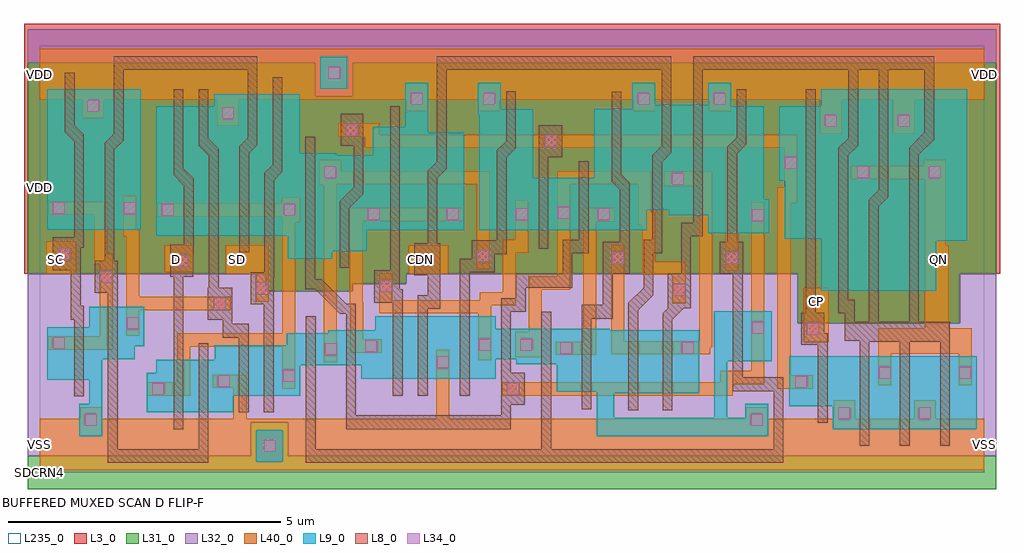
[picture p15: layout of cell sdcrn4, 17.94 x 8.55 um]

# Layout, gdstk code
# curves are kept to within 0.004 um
import gdstk
lib = gdstk.Library(unit=1e-6, precision=1e-09)
def R(c, l, rs):  # rectangles x0, y0, x1, y1
    for r in rs: c.add(gdstk.rectangle(r[:2], r[2:], *l))
def P(c, l, *ps):  # polygons
    for p in ps: c.add(gdstk.Polygon(p, *l))
L3_0 = (3, 0)
L8_0 = (8, 0)
L9_0 = (9, 0)
L31_0 = (31, 0)
L32_0 = (32, 0)
L34_0 = (34, 0)
L40_0 = (40, 0)
L235_0 = (235, 0)

sdcrn4 = lib.new_cell('sdcrn4')
P(sdcrn4, L3_0, [(17.65,8.245),(17.65,3.65),(16.91,3.65),(16.91,2.74),(13.93,2.74),(13.93,3.65),(6.74,3.65),(6.74,3.47),(5.75,3.47),(5.75,3.33),(4.15,3.33),(4.15,3.65),(-0.29,3.65),(-0.29,8.245)])
R(sdcrn4, L8_0, [(15.07,0.49,15.25,2.405), (15.81,0.49,15.99,2.405)])
P(sdcrn4, L8_0, [(3.1,2.38),(2.92,2.38),(2.92,0.43),(1.43,0.43),(1.43,3.89),(1.37,3.89),(1.37,5.93),(1.54,6.1),(1.54,7.405),(3.82,7.405),(3.82,6.15),(3.67,6),(3.67,4.045),(3.85,4.045),(3.85,5.865),(4,6.015),(4,7.655),(1.36,7.655),(1.36,6.23),(1.19,6.06),(1.19,3.89),(1.01,3.89),(1.01,3.3),(1.25,3.3),(1.25,0.18),(3.1,0.18)],
  [(11,2.98),(11.28,3.26),(11.28,4.03),(11.44,4.03),(11.44,5.705),(11.61,5.875),(11.61,7.655),(7.3,7.655),(7.3,5.715),(7.13,5.545),(7.13,4.21),(6.88,4.21),(6.88,3.625),(7.13,3.625),(7.13,3.26),(6.95,3.26),(6.95,1.41),(7.13,1.41),(7.13,3.01),(7.36,3.01),(7.36,4.21),(7.31,4.21),(7.31,5.41),(7.48,5.58),(7.48,7.405),(11.43,7.405),(11.43,6.005),(11.26,5.835),(11.26,4.28),(11.1,4.28),(11.1,3.4),(10.82,3.12),(10.82,1.145),(11,1.145)],
  [(0.81,3.065),(0.75,3.065),(0.75,4.13),(0.81,4.13),(0.81,6.215),(0.64,6.385),(0.64,7.35),(0.46,7.35),(0.46,6.25),(0.63,6.08),(0.63,4.325),(0.24,4.325),(0.24,3.72),(0.57,3.72),(0.57,2.81),(0.63,2.81),(0.63,1.4),(0.81,1.4)],
  [(4.3,3.58),(4.31,3.58),(4.31,5.375),(4.46,5.525),(4.46,7.265),(4.28,7.265),(4.28,5.66),(4.13,5.51),(4.13,3.68),(3.88,3.68),(3.88,3.09),(4.12,3.09),(4.12,1.105),(4.3,1.105)],
  [(2.64,3.595),(2.82,3.595),(2.82,4.015),(2.83,4.015),(2.83,5.405),(2.64,5.595),(2.64,7.04),(2.46,7.04),(2.46,5.465),(2.65,5.275),(2.65,4.185),(2.4,4.185),(2.4,3.595),(2.46,3.595),(2.46,0.795),(2.64,0.795)],
  [(3.84,2.73),(3.54,2.73),(3.54,3.4),(3.29,3.4),(3.29,5.95),(3.1,6.14),(3.1,7.04),(2.92,7.04),(2.92,6.01),(3.11,5.82),(3.11,3.4),(3.09,3.4),(3.09,2.81),(3.36,2.81),(3.36,2.475),(3.66,2.475),(3.66,1.105),(3.84,1.105)],
  [(13.67,1.75),(12.92,1.75),(12.92,3.65),(12.93,3.65),(12.93,4.24),(12.82,4.24),(12.82,5.86),(12.99,6.03),(12.99,7.04),(12.81,7.04),(12.81,6.16),(12.64,5.99),(12.64,4.24),(12.5,4.24),(12.5,3.65),(12.74,3.65),(12.74,1.495),(13.49,1.495),(13.49,0.43),(9.4,0.43),(9.4,2.95),(9.22,2.95),(9.22,0.43),(5.07,0.43),(5.07,2.87),(4.89,2.87),(4.89,0.18),(13.67,0.18)],
  [(14.48,2.56),(14.42,2.56),(14.42,2.94),(14.26,2.94),(14.26,7.04),(14.08,7.04),(14.08,2.94),(14,2.94),(14,2.35),(14.3,2.35),(14.3,0.91),(14.48,0.91)],
  [(7.9,3.68),(8.36,3.68),(8.36,4.015),(8.58,4.015),(8.58,5.79),(8.75,5.96),(8.75,7.01),(8.57,7.01),(8.57,6.09),(8.4,5.92),(8.4,4.27),(7.94,4.27),(7.94,3.93),(7.72,3.93),(7.72,1.41),(7.9,1.41)],
  [(10.14,2.825),(10.53,2.825),(10.53,3.65),(10.84,3.65),(10.84,5.33),(10.69,5.48),(10.69,7),(10.51,7),(10.51,5.345),(10.66,5.195),(10.66,4.24),(10.35,4.24),(10.35,3.08),(9.96,3.08),(9.96,1.16),(10.14,1.16)],
  [(6.67,3.37),(6.62,3.37),(6.62,6.73),(6.44,6.73),(6.44,3.72),(6.15,3.72),(6.15,3.12),(6.49,3.12),(6.49,1.41),(6.67,1.41)],
  [(5.69,4.855),(5.95,5.115),(5.95,6.59),(5.53,6.59),(5.53,6.005),(5.77,6.005),(5.77,5.245),(5.51,4.985),(5.51,3.765),(5.69,3.765)],
  [(9.35,5.795),(9.6,5.795),(9.6,6.38),(9.17,6.38),(9.17,4.115),(9.35,4.115)],
  [(8.66,1.245),(8.91,1.245),(8.91,1.83),(8.66,1.83),(8.66,2.95),(8.93,2.95),(8.93,3.4),(9.79,3.4),(9.79,4.03),(10.09,4.03),(10.09,5.725),(9.91,5.725),(9.91,4.28),(9.61,4.28),(9.61,3.65),(8.75,3.65),(8.75,3.205),(8.48,3.205),(8.48,1.05),(5.81,1.05),(5.81,3.105),(5.63,3.105),(5.18,3.555),(5.06,3.555),(5.06,6.17),(4.88,6.17),(4.88,3.37),(5.06,3.37),(5.51,2.92),(5.63,2.92),(5.63,0.795),(8.66,0.795)],
  [(15.07,2.405),(16.55,2.405),(16.55,0.49),(16.73,0.49),(16.73,2.77),(16.16,2.77),(16.16,5.84),(16.44,6.12),(16.44,7.655),(12.01,7.655),(12.01,4.59),(11.79,4.59),(11.79,3.65),(11.54,3.65),(11.54,3.02),(11.45,2.93),(11.45,1.145),(11.63,1.145),(11.63,2.805),(11.84,3.015),(11.97,3.015),(11.97,4.34),(12.19,4.34),(12.19,7.405),(14.86,7.405),(14.86,6.145),(14.68,5.965),(14.68,3.175),(14.86,3.175),(14.86,5.83),(15.04,6.01),(15.04,7.405),(15.42,7.405),(15.42,5.195),(15.24,5.015),(15.24,2.77),(15.42,2.77),(15.42,4.88),(15.6,5.06),(15.6,7.405),(16.26,7.405),(16.26,6.25),(15.98,5.97),(15.98,2.77),(14.98,2.77),(14.98,3.175),(14.68,3.175),(14.68,2.925),(14.8,2.925),(14.8,2.42),(15.07,2.42)])
R(sdcrn4, L9_0, [(3.98,0.195,4.47,0.78), (0.14,4.465,1.86,7.04), (5.16,7.055,5.65,7.64)])
P(sdcrn4, L9_0, [(17.22,2.14),(17.22,0.795),(14.58,0.795),(14.58,1.215),(13.78,1.215),(13.78,2.14)],
  [(13.45,2.965),(13.45,2.04),(12.64,2.04),(12.64,1.005),(12.97,1.005),(12.97,1.26),(13.39,1.26),(13.39,0.67),(10.24,0.67),(10.24,1.48),(9.5,1.48),(9.5,1.985),(8.76,1.985),(8.76,2.085),(8.38,2.085),(8.38,1.72),(5.91,1.72),(5.91,1.97),(4.79,1.97),(4.79,1.41),(3.56,1.41),(3.56,1.105),(1.97,1.105),(1.97,1.83),(2.14,1.83),(2.14,2.07),(3.22,2.07),(3.22,2.335),(4.54,2.335),(4.54,2.56),(5.3,2.56),(5.3,2.615),(6.17,2.615),(6.17,2.87),(8.38,2.87),(8.38,2.645),(10.48,2.645),(10.48,2.615),(12.12,2.615),(12.12,1.455),(10.56,1.455),(10.56,1.005),(12.4,1.005),(12.4,2.965)],
  [(1.92,3.05),(1.92,2.32),(1.75,2.32),(1.75,2.085),(1.15,2.085),(1.15,0.67),(0.73,0.67),(0.73,1.26),(0.91,1.26),(0.91,1.705),(0.14,1.705),(0.14,2.67),(0.91,2.67),(0.91,3.05)],
  [(17.05,7.04),(17.05,4.255),(16.48,4.255),(16.48,3.345),(14.36,3.345),(14.36,4.295),(13.69,4.295),(13.69,5.36),(13.59,5.36),(13.59,6.73),(14.36,6.73),(14.36,7.04)],
  [(12.71,7.165),(12.71,6.73),(13.31,6.73),(13.31,5.025),(13.41,5.025),(13.41,4.395),(12.29,4.395),(12.29,4.73),(11.56,4.73),(11.56,4.83),(11.16,4.83),(11.16,4.45),(8.08,4.45),(8.08,6.58),(8.05,6.58),(8.05,7.165),(8.47,7.165),(8.47,6.675),(9.07,6.675),(9.07,5.415),(10.19,5.415),(10.19,6.69),(10.89,6.69),(10.89,7.165),(11.31,7.165),(11.31,6.76),(12.29,6.76),(12.29,7.165)],
  [(7.14,7.165),(7.14,6.255),(7.8,6.255),(7.8,4.45),(6.01,4.45),(6.01,4.07),(5.38,4.07),(5.38,3.93),(4.56,3.93),(4.56,4.35),(2.14,4.35),(2.14,6.73),(3.21,6.73),(3.21,6.955),(4.78,6.955),(4.78,5.865),(5.46,5.865),(5.46,5.835),(6.12,5.835),(6.12,6.355),(6.72,6.355),(6.72,7.165)])
P(sdcrn4, L31_0, [(4.57,0.92),(4.57,0.305),(17.58,0.305),(17.58,-0.305),(-0.22,-0.305),(-0.22,0.305),(3.88,0.305),(3.88,0.92)],
  [(17.58,7.53),(17.58,3.65),(16.91,3.65),(16.91,2.74),(13.93,2.74),(13.93,3.65),(6.74,3.65),(6.74,3.47),(5.75,3.47),(5.75,3.33),(4.15,3.33),(4.15,3.65),(-0.22,3.65),(-0.22,7.53),(5.06,7.53),(5.06,6.915),(5.75,6.915),(5.75,7.53)])
P(sdcrn4, L32_0, [(17.58,3.65),(17.58,0.305),(4.57,0.305),(4.57,0.92),(3.88,0.92),(3.88,0.305),(-0.22,0.305),(-0.22,3.65),(4.15,3.65),(4.15,3.33),(5.75,3.33),(5.75,3.47),(6.74,3.47),(6.74,3.65),(13.93,3.65),(13.93,2.74),(16.91,2.74),(16.91,3.65)],
  [(17.58,8.145),(17.58,7.53),(5.75,7.53),(5.75,6.915),(5.06,6.915),(5.06,7.53),(-0.22,7.53),(-0.22,8.145)])
R(sdcrn4, L34_0, [(4.12,0.38,4.34,0.6), (0.83,0.855,1.05,1.075), (13.07,0.855,13.29,1.075), (14.68,0.98,14.9,1.2), (16.16,0.98,16.38,1.2), (2.07,1.43,2.29,1.65), (8.59,1.43,8.81,1.65), (13.89,1.555,14.11,1.775), (3.27,1.57,3.49,1.79), (4.47,1.665,4.69,1.885), (15.42,1.72,15.64,1.94), (16.9,1.72,17.12,1.94), (7.3,1.92,7.52,2.14), (5.24,2.155,5.46,2.375), (9.57,2.17,9.79,2.39), (11.8,2.185,12.02,2.405), (5.98,2.21,6.2,2.43), (8.07,2.24,8.29,2.46), (8.83,2.24,9.05,2.46), (0.24,2.27,0.46,2.49), (14.1,2.535,14.32,2.755), (13.09,2.55,13.31,2.77), (1.6,2.63,1.82,2.85), (3.2,2.995,3.42,3.215), (11.64,3.25,11.86,3.47), (3.98,3.275,4.2,3.495), (6.25,3.32,6.47,3.54), (1.11,3.485,1.33,3.705), (2.5,3.78,2.72,4), (6.98,3.81,7.2,4.03), (10.51,3.835,10.73,4.055), (12.61,3.835,12.83,4.055), (8.04,3.865,8.26,4.085), (0.34,3.905,0.56,4.125), (13.09,4.62,13.31,4.84), (6.03,4.635,6.25,4.855), (7.48,4.635,7.7,4.855), (8.75,4.635,8.97,4.855), (10.26,4.635,10.48,4.855), (9.52,4.66,9.74,4.88), (2.24,4.72,2.46,4.94), (4.48,4.72,4.7,4.94), (0.24,4.745,0.46,4.965), (1.54,4.745,1.76,4.965), (11.62,5.29,11.84,5.51), (5.23,5.405,5.45,5.625), (15.03,5.405,15.25,5.625), (16.34,5.405,16.56,5.625), (13.69,5.585,13.91,5.805), (9.28,5.98,9.5,6.2), (5.63,6.19,5.85,6.41), (14.43,6.355,14.65,6.575), (15.77,6.355,15.99,6.575), (3.35,6.495,3.57,6.715), (0.87,6.635,1.09,6.855), (6.82,6.76,7.04,6.98), (8.15,6.76,8.37,6.98), (10.99,6.76,11.21,6.98), (12.39,6.76,12.61,6.98), (5.3,7.24,5.52,7.46)])
R(sdcrn4, L40_0, [(14.04,2.395,14.5,3.395), (0.12,3.655,0.67,4.25), (6.78,3.655,7.51,4.18), (2.3,3.685,2.82,4.18)])
P(sdcrn4, L40_0, [(0,6.85),(0.78,6.85),(0.78,6.51),(1.18,6.51),(1.18,6.85),(3.26,6.85),(3.26,6.37),(3.66,6.37),(3.66,6.85),(6.74,6.85),(6.74,6.64),(7.13,6.64),(7.13,6.85),(8.06,6.85),(8.06,6.64),(8.46,6.64),(8.46,6.85),(10.9,6.85),(10.9,6.64),(11.3,6.64),(11.3,6.85),(12.3,6.85),(12.3,6.64),(12.7,6.64),(12.7,6.85),(14.34,6.85),(14.34,6.23),(14.74,6.23),(14.74,6.85),(15.68,6.85),(15.68,6.23),(16.08,6.23),(16.08,6.85),(17.36,6.85),(17.36,7.79),(0,7.79)],
  [(11.48,5.265),(12.12,5.265),(12.12,2.415),(10.74,2.415),(10.74,4.18),(10.5,4.18),(10.5,2.17),(12.32,2.17),(12.32,2.3),(12.36,2.3),(12.36,5.54),(11.48,5.54)],
  [(4.46,1.54),(4.7,1.54),(4.7,4.595),(4.79,4.595),(4.79,5.06),(4.45,5.06),(4.45,4.95),(2.15,4.95),(2.15,4.705),(4.46,4.705),(4.46,2.555),(2.53,2.555),(2.53,1.66),(1.98,1.66),(1.98,1.415),(2.77,1.415),(2.77,2.31),(4.46,2.31)],
  [(8.75,4.035),(8.98,4.035),(8.98,5.005),(8.74,5.005),(8.74,4.28),(8.51,4.28),(8.51,3.31),(8.09,3.31),(8.09,3.17),(6.48,3.17),(6.48,3.66),(6.24,3.66),(6.24,2.93),(8.06,2.93),(8.06,2.06),(8.3,2.06),(8.3,3.07),(8.75,3.07)],
  [(13.32,4.965),(13.08,4.965),(13.08,1.87),(12.51,1.87),(12.51,1.66),(8.5,1.66),(8.5,1.415),(12.74,1.415),(12.74,1.625),(13.32,1.625)],
  [(9.99,2.4),(9.48,2.4),(9.48,2.16),(10.23,2.16),(10.23,4.61),(10.57,4.61),(10.57,4.865),(9.99,4.865)],
  [(3.42,3.655),(3.97,3.655),(3.97,3.14),(4.21,3.14),(4.21,4.18),(3.42,4.18)],
  [(0.15,4.98),(0.15,4.735),(1,4.735),(1,3.825),(1.1,3.825),(1.1,2.5),(0.15,2.5),(0.15,2.255),(1.34,2.255),(1.34,4.025),(1.24,4.025),(1.24,4.98)],
  [(11.31,4.78),(11.24,4.78),(11.24,5.54),(9.51,5.54),(9.51,3.605),(8.99,3.605),(8.99,2.585),(8.74,2.585),(8.74,2.115),(9.23,2.115),(9.23,3.36),(9.75,3.36),(9.75,5.295),(11,5.295),(11,4.55),(11.07,4.55),(11.07,3.63),(11.63,3.63),(11.63,3.11),(11.87,3.11),(11.87,3.87),(11.31,3.87)],
  [(1.77,4.475),(1.77,5.09),(1.53,5.09),(1.53,4.34),(1.59,4.34),(1.59,2.51),(1.83,2.51),(1.83,2.985),(3.51,2.985),(3.51,3.23),(1.83,3.23),(1.83,4.475)],
  [(16.71,4.18),(16.65,4.18),(16.65,5.75),(16.25,5.75),(16.25,5.635),(14.91,5.635),(14.91,5.39),(16.27,5.39),(16.27,2.655),(15.41,2.655),(15.41,1.6),(15.65,1.6),(15.65,2.185),(16.89,2.185),(16.89,1.6),(17.13,1.6),(17.13,2.655),(16.71,2.655)],
  [(5.94,3.13),(5.94,4.62),(7.79,4.62),(7.79,4.865),(5.7,4.865),(5.7,3.11),(5.71,3.11),(5.71,2.2),(6.29,2.2),(6.29,2.445),(5.95,2.445),(5.95,3.13)],
  [(8.03,5.295),(8.03,3.74),(8.27,3.74),(8.27,5.54),(5.54,5.54),(5.54,5.75),(5.14,5.75),(5.14,5.28),(5.22,5.28),(5.22,2.03),(5.47,2.03),(5.47,2.39),(5.46,2.39),(5.46,5.295)],
  [(13.8,4.945),(13.92,4.945),(13.92,6.21),(6.24,6.21),(6.24,6.42),(5.49,6.42),(5.49,6.175),(5.97,6.175),(5.97,5.965),(12.6,5.965),(12.6,3.71),(12.84,3.71),(12.84,5.965),(13.68,5.965),(13.68,5.245),(13.56,5.245),(13.56,1.54),(14.21,1.54),(14.21,1.785),(13.8,1.785)],
  [(16.07,1.325),(16.07,0.99),(14.99,0.99),(14.99,1.325),(14.59,1.325),(14.59,0.99),(13.38,0.99),(13.38,1.2),(12.98,1.2),(12.98,0.99),(7.53,0.99),(7.53,2.26),(7.29,2.26),(7.29,0.99),(3.8,0.99),(3.8,1.8),(3.18,1.8),(3.18,1.555),(3.56,1.555),(3.56,0.99),(1.14,0.99),(1.14,1.2),(0.74,1.2),(0.74,0.99),(0,0.99),(0,0.045),(17.36,0.045),(17.36,0.99),(16.47,0.99),(16.47,1.325)])
R(sdcrn4, L235_0, [(0,0,17.36,7.84)])
sdcrn4.add(gdstk.Label('VDD', (0,5.23), layer=40, texttype=7))
sdcrn4.add(gdstk.Label('VDD', (0,5.23), layer=40, texttype=7))
sdcrn4.add(gdstk.Label('VDD', (0,5.23), layer=40, texttype=7))
sdcrn4.add(gdstk.Label('VDD', (0,5.23), layer=40, texttype=7))
sdcrn4.add(gdstk.Label('VDD', (0,5.23), layer=40, texttype=7))
sdcrn4.add(gdstk.Label('Copyright (c) 2003, 2004 Synopsys, Inc.', (0,-2.24), layer=96, texttype=0))
sdcrn4.add(gdstk.Label('DT. 13-Aug-2002 12:48:04', (0,-1.68), layer=96, texttype=0))
sdcrn4.add(gdstk.Label('Rev. 2', (0,-1.12), layer=96, texttype=0))
sdcrn4.add(gdstk.Label('BUFFERED MUXED SCAN D FLIP-FLOP WITH CLEAR AND QN ONLY, 4X DRIVE', (0,-0.56), layer=96, texttype=0))
sdcrn4.add(gdstk.Label('SDCRN4', (0,0), layer=96, texttype=0))
sdcrn4.add(gdstk.Label('QN', (16.52,3.92), layer=40, texttype=7))
sdcrn4.add(gdstk.Label('CP', (14.28,3.135), layer=40, texttype=7))
sdcrn4.add(gdstk.Label('CDN', (7,3.92), layer=40, texttype=7))
sdcrn4.add(gdstk.Label('SD', (3.64,3.92), layer=40, texttype=7))
sdcrn4.add(gdstk.Label('D', (2.52,3.92), layer=40, texttype=7))
sdcrn4.add(gdstk.Label('SC', (0.28,3.92), layer=40, texttype=7))
sdcrn4.add(gdstk.Label('VSS', (17.36,0.515), layer=40, texttype=7))
sdcrn4.add(gdstk.Label('VSS', (0,0.515), layer=40, texttype=7))
sdcrn4.add(gdstk.Label('VDD', (17.36,7.32), layer=40, texttype=7))
sdcrn4.add(gdstk.Label('VDD', (0,7.32), layer=40, texttype=7))

lib.write_gds('sdcrn4.gds')
